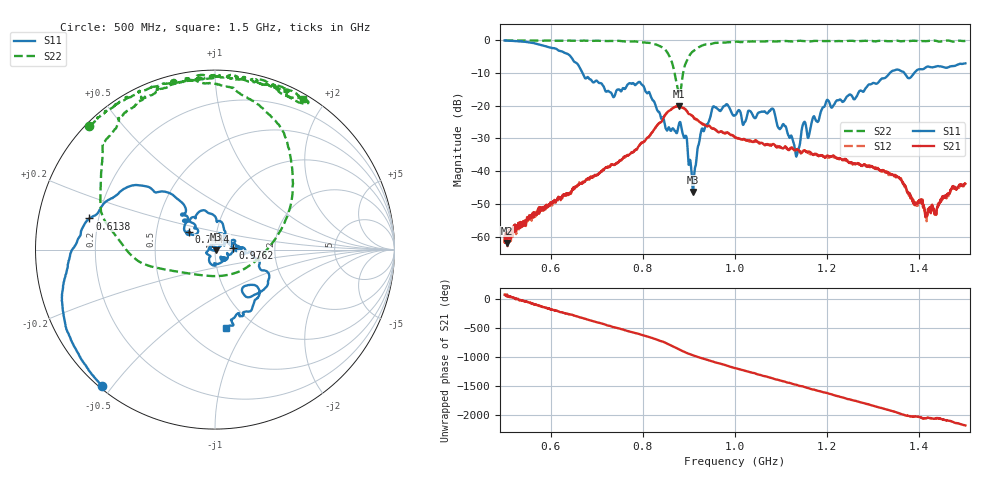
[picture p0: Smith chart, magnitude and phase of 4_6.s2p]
!Agilent Technologies,E8364B,US42250235,A.06.04.32
!Agilent E8364B: A.06.04.32
!Date: Friday, January 15, 2021 16:28:46
!Correction: S11(Full 2 Port(1,2)) S21(Full 2 Port(1,2)) S12(Full 2 Port(1,2)) S22(Full 2 Port(1,2))
!S2P File: Measurements: S11, S21, S12, S22:
# Hz S  dB  R 50
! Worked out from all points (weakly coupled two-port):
!   1601 points, 500 MHz to 1.5 GHz, reference 50 ohm
!   highest |S21| = -20.18 dB at 878.1 MHz (marker M1); lowest = -61.9 dB at 505 MHz (marker M2)
!   lowest |S11| = -46.4 dB at 908.1 MHz (marker M3), VSWR 1.01, Z = 50.5 - j0.0618 ohm
!   |S11| at or under -10 dB: 669 MHz to 1.336 GHz (667.4 MHz wide, 66.6 % of centre); 1.367 GHz to 1.389 GHz (21.77 MHz wide, 1.58 % of centre)
!   |S22| runs from -16.6 to -0.1 dB; largest |S21 - S12| = 0.0043
!   S11 on the Smith chart (normalised r, x): 500 MHz: 0.01, -0.47; 613.8 MHz: 0.16, +0.12; 744.4 MHz: 0.73, +0.15; 976.2 MHz: 1.22, +0.03; 1.5 GHz: 0.75, -0.81
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5e8  -0.13 -129.6  -59.90 69.8  -60.79 62.2  -0.16 135.5
5.05e8  -0.16 -131.7  -61.95 63.5  -60.35 48.9  -0.17 134.9
5.6125e8  -0.89 -160.6  -53.63 -85.6  -52.95 -83.0  -0.14 128.3
6.1375e8  -2.84 166.1  -48.77 151.5  -48.64 153.6  -0.18 123.0
6.66875e8  -9.39 125.9  -43.80 32.2  -43.82 29.7  -0.21 115.4
7.44375e8  -15.14 145.6  -37.48 -143.0  -37.56 -144.7  -0.28 103.2
7.94375e8  -12.93 104.7  -31.74 108.3  -31.82 106.3  -0.65 92.9
8.3375e8  -21.87 58.3  -25.57 9.4  -25.55 7.0  -1.65 70.8
8.6e8  -27.67 79.0  -21.33 -76.1  -21.48 -78.3  -5.64 34.5
8.78125e8  -25.79 65.4  -20.18 -145.9  -20.23 -148.3  -16.24 -68.5
8.91875e8  -29.34 40.0  -21.06 161.3  -21.09 159.2  -7.47 -170.5
9.08125e8  -46.39 -7.3  -23.19 111.0  -23.22 109.3  -3.49 161.7
9.28125e8  -27.07 107.9  -25.43 60.6  -25.59 57.5  -1.71 139.8
9.7625e8  -20.15 6.0  -28.41 -51.6  -28.26 -54.1  -0.77 121.2
1e9  -22.98 -15.7  -29.72 -109.1  -29.58 -111.1  -0.51 115.0
1.08125e9  -20.98 -92.0  -31.82 78.5  -31.91 73.5  -0.41 103.4
1.134375e9  -35.02 113.7  -33.31 -37.7  -33.66 -43.0  -0.34 92.9
1.14875e9  -25.28 69.7  -33.65 -65.8  -33.96 -72.3  -0.35 96.4
1.166875e9  -24.81 67.8  -34.72 -112.1  -34.84 -111.9  -0.35 90.4
1.33375e9  -10.48 -22.8  -40.52 -109.2  -40.69 -110.3  -0.37 75.5
1.416875e9  -8.12 -58.9  -53.77 117.5  -53.68 113.7  -0.31 65.4
1.5e9  -7.11 -82.1  -43.83 -11.0  -44.37 -15.8  -0.25 59.8
